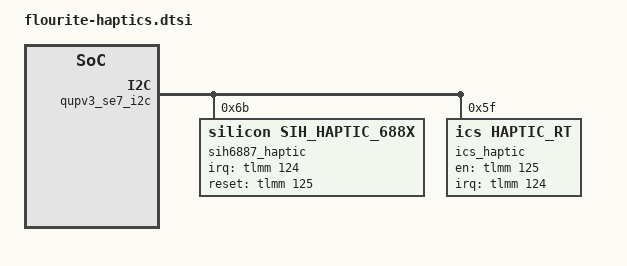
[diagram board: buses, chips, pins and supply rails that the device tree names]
// SPDX-License-Identifier: GPL-2.0-only
#include <dt-bindings/gpio/gpio.h>

&tlmm {
	flourite_haptic_reset: haptic-reset {
		mux { pins = "gpio125"; function = "gpio"; };
		config { pins = "gpio125"; drive-strength = <2>; bias-disable; output-low; };
	};
	flourite_haptic_active: haptic-active {
		mux { pins = "gpio125"; function = "gpio"; };
		config { pins = "gpio125"; drive-strength = <2>; bias-disable; output-high; };
	};
	flourite_haptic_irq: haptic-irq {
		mux { pins = "gpio124"; function = "gpio"; };
		config { pins = "gpio124"; drive-strength = <2>; bias-pull-up; input-enable; };
	};
	flourite_ics_haptic: ics-haptic {
		rst {
			pins = "gpio125";
			function = "gpio";
			drive-strength = <2>;
			bias-disable;
			output-high;
		};
		irq {
			pins = "gpio124";
			function = "gpio";
			bias-pull-up;
			input-enable;
			drive-open-drain;
			power-source = <0>;
		};
	};
};

&qupv3_se7_i2c {
	status = "okay";
	sih6887_haptic@6b {
		compatible = "silicon,sih_haptic_688X";
		reg = <0x6b>;
		irq-gpio = <&tlmm 124 GPIO_ACTIVE_HIGH>;
		reset-gpio = <&tlmm 125 GPIO_ACTIVE_HIGH>;
		interrupt = <26 1>;
		pinctrl-names = "sih_reset_reset", "sih_reset_active", "sih_interrupt_active";
		pinctrl-0 = <&flourite_haptic_reset>;
		pinctrl-1 = <&flourite_haptic_active>;
		pinctrl-2 = <&flourite_haptic_irq>;
		lra_name = "0809";
		vib_effect_id_boundary = <10>;
		vib_effect_max = <197>;
		vib_f0_pre = <1700>;
		vib_bst_vol_default = <95>;
	};
	ics_haptic@5f {
		compatible = "ics,haptic_rt";
		reg = <0x5f>;
		device-name = "vibrator";
		richtap-name = "aac_richtap";
		pinctrl-names = "default";
		pinctrl-0 = <&flourite_ics_haptic>;
		gpio-en = <&tlmm 125 GPIO_ACTIVE_HIGH>;
		gpio-irq = <&tlmm 124 GPIO_ACTIVE_HIGH>;
		rt6010_chip_id = <0x6b>;
		rt6010_reg_size = <0x6c>;
		rt6010_ram_size = <0x600>;
		rt6010_sys_f0 = <1700>;
		rt6010_list_base_addr = <0x400>;
		rt6010_wave_base_addr = <0x420>;
		rt6010_fifo_ae = <0x200>;
		rt6010_fifo_af = <0x300>;
		rt6010_boost_mode = <0>;
		rt6010_boost_vol = <10>;
		rt6010_gain = <128>;
		rt6010_brake_en = <0>;
		rt6010_brake_wave_no = <0>;
		rt6010_brake_const = <0>;
		rt6010_brake_acq_point = <0>;
	};
};
